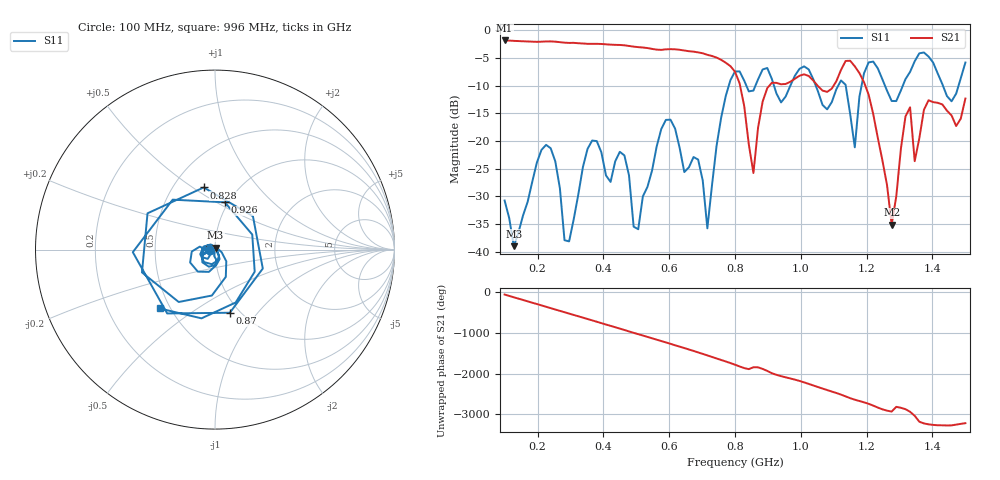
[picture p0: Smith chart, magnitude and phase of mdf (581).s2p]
! NanoVNA-App
! Date: 2025-09-25 15:42:56
! Start: 100MHz Stop: 1,5GHz Points: 101
! S-Parameter data: F S11 S21 S12 S22
# Hz S RI R 50
!  Frequency  S11_Real  S11_Imag  S21_Real  S21_Imag  S12_Real  S12_Imag  S22_Real  S22_Imag
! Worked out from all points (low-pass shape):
!   101 points, 100 MHz to 1.5 GHz, reference 50 ohm
!   highest |S21| = -1.80 dB at 100 MHz (marker M1); lowest = -35.1 dB at 1.276 GHz (marker M2)
!   |S21| within 3 dB of the highest: start of sweep to 739.4 MHz
!   lowest |S11| = -39.0 dB at 128 MHz (marker M3), VSWR 1.02, Z = 50.3 + j1.08 ohm
!   |S11| at or under -10 dB: start of sweep to 781 MHz; 1.046 GHz to 1.113 GHz (67.88 MHz wide, 6.29 % of centre); 1.256 GHz to 1.31 GHz (53.92 MHz wide, 4.2 % of centre) (the widest 3 of 7)
!   S12 and S22 are empty: the file has one direction only
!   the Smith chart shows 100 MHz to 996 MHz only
!   S11 on the Smith chart (normalised r, x): 100 MHz: 0.94, -0.01; 828 MHz: 0.70, +0.55; 870 MHz: 0.90, -0.73; 926 MHz: 0.96, +0.55; 996 MHz: 0.44, -0.36
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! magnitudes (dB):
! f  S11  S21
! 100 MHz  -30.7  -1.8
! 128 MHz  -39.0  -1.9
! 212 MHz  -21.6  -2.0
! 282 MHz  -37.9  -2.2
! 338 MHz  -24.7  -2.4
! 464 MHz  -22.6  -2.7
! 506 MHz  -35.9  -3.0
! 576 MHz  -17.8  -3.5
! 716 MHz  -35.8  -4.4
! 800 MHz  -7.4  -7.5
! 828 MHz  -9.1  -13.7
! 856 MHz  -10.9  -25.8
! 870 MHz  -8.8  -17.6
! 926 MHz  -11.4  -9.5
! 996 MHz  -6.9  -8.2
! 1.038 GHz  -8.8  -9.1
! 1.164 GHz  -21.1  -6.5
! 1.178 GHz  -12.0  -7.7
! 1.276 GHz  -12.7  -35.1
! 1.332 GHz  -7.5  -13.9
! 1.346 GHz  -5.6  -23.6
! 1.5 GHz  -5.8  -12.3
